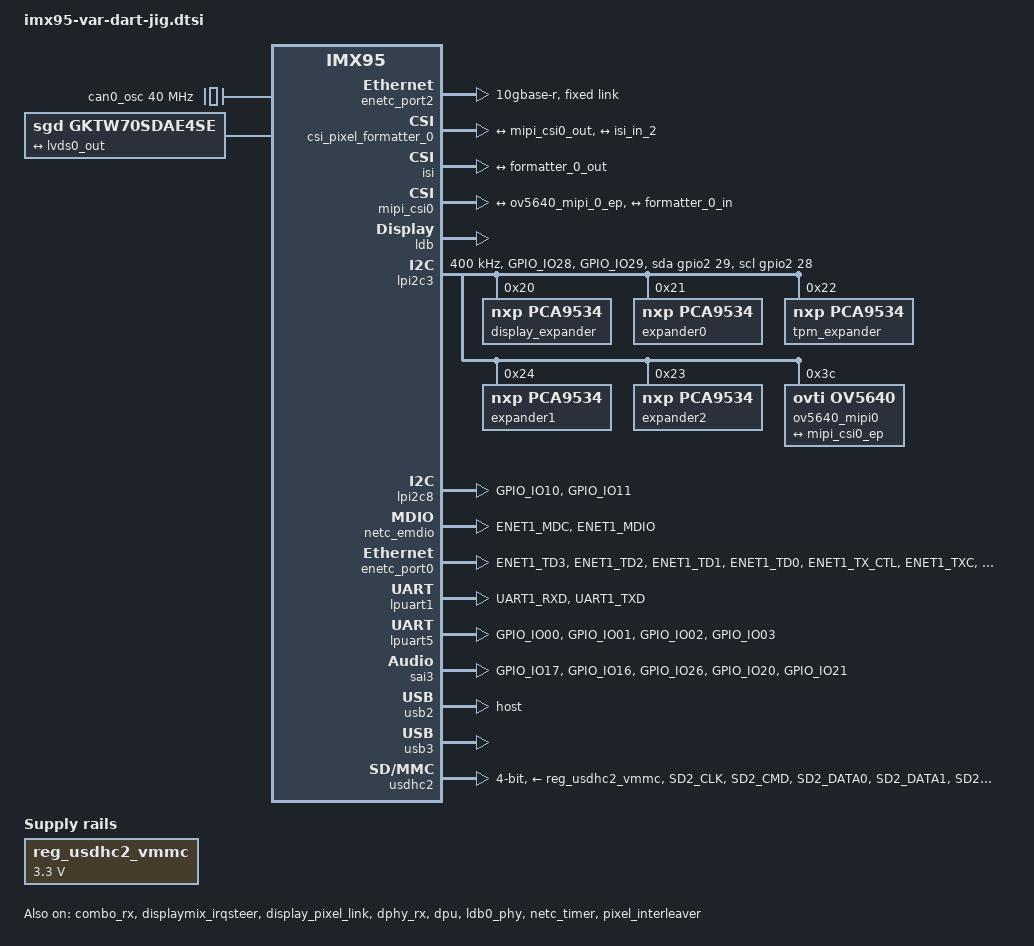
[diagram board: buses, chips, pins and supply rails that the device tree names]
// SPDX-License-Identifier: (GPL-2.0+ OR MIT)
/*
 * Copyright 2023 NXP
 * Copyright 2024-2025 Variscite Ltd.
 */

#include <dt-bindings/clock/nxp,imx95-clock.h>

/ {
	aliases {
		mmc0 = &usdhc1;
		mmc1 = &usdhc2;
		serial0 = &lpuart1;
		ethernet0 = &enetc_port0;
		ethernet1 = &enetc_port1;
		ethernet2 = &enetc_port2;
	};

	can0_osc: can0_osc {
		compatible = "fixed-clock";
		#clock-cells = <0>;
		clock-frequency = <40000000>;
	};

	chosen {
		stdout-path = &lpuart1;
	};

	clk_ov5640_fixed: clock {
		#clock-cells = <0>;
		compatible = "fixed-clock";
		clock-frequency = <24000000>;
	};

	panel {
		compatible = "sgd,gktw70sdae4se", "panel-lvds";
		width-mm = <153>;
		height-mm = <87>;
		label = "gktw70sdae4se";
		data-mapping = "jeida-24";
		status = "okay";

		panel-timing {
			clock-frequency = <74250000>;
			hactive = <800>;
			vactive = <480>;
			hback-porch = <40>;
			hfront-porch = <40>;
			vback-porch = <29>;
			vfront-porch = <13>;
			hsync-len = <48>;
			vsync-len = <3>;
			hsync-active = <0>;
			vsync-active = <0>;
			de-active = <1>;
		};

		ports {
			#address-cells = <1>;
			#size-cells = <0>;

			port@0 {
				reg = <0>;
				panel_in: endpoint {
					remote-endpoint = <&lvds0_out>;
				};
			};
		};
	};

	reg_usdhc2_vmmc: regulator-usdhc2 {
		compatible = "regulator-fixed";
		// pinctrl-names = "default";
		// pinctrl-0 = <&pinctrl_reg_usdhc2_vmmc>;
		regulator-name = "VDD_SD2_3V3";
		regulator-min-microvolt = <3300000>;
		regulator-max-microvolt = <3300000>;
		off-on-delay-us = <12000>;
		enable-active-high;
	};

	/delete-node/ sound-wm8904;
	/delete-node/ usdhc3_pwrseq;
};

&enetc_port2 {
	phy-mode = "10gbase-r";
	status = "okay";

	fixed-link {
		speed = <10000>;
		full-duplex;
	};
};

&combo_rx {
	status = "okay";
};

&csi_pixel_formatter_0 {
	status = "okay";

	ports {
		#address-cells = <1>;
		#size-cells = <0>;

		port@0 {
			reg = <0>;

			formatter_0_in: endpoint {
				remote-endpoint = <&mipi_csi0_out>;
			};
		};

		port@1 {
			reg = <1>;

			formatter_0_out: endpoint {
				remote-endpoint = <&isi_in_2>;
			};
		};
	};
};

&displaymix_irqsteer {
	status = "okay";
};

&display_pixel_link {
	status = "okay";
};

&dphy_rx {
	status = "okay";
};

&dpu {
	status = "okay";
};

&gpio1 {
	status = "okay";
};

&ldb0_phy {
	status = "okay";
};

&isi {
	status = "okay";

	ports {
		#address-cells = <1>;
		#size-cells = <0>;

		port@2 {
			reg = <2>;

			isi_in_2: endpoint {
				remote-endpoint = <&formatter_0_out>;
			};
		};
	};
};

&mipi_csi0 {
	status = "okay";

	ports {
		#address-cells = <1>;
		#size-cells = <0>;

		port@0 {
			reg = <0>;
			mipi_csi0_ep: endpoint {
				remote-endpoint = <&ov5640_mipi_0_ep>;
				data-lanes = <1 2>;
				clock-lanes = <0>;
			};
		};

		port@1 {
			reg = <1>;
			mipi_csi0_out: endpoint {
				remote-endpoint = <&formatter_0_in>;
			};
		};
	};
};

&ldb {
	status = "okay";

	channel@0 {
		status = "okay";
		reg = <0>;

		port@1 {
			reg = <1>;
			lvds0_out: endpoint {
				remote-endpoint = <&panel_in>;
			};
		};
	};
};

&lpi2c3 {
	#address-cells = <1>;
	#size-cells = <0>;
	clock-frequency = <400000>;
	pinctrl-names = "default", "gpio", "sleep";
	pinctrl-0 = <&pinctrl_lpi2c3>;
	pinctrl-1 = <&pinctrl_lpi2c3>;
	// pinctrl-1 = <&pinctrl_lpi2c3_gpio>;
	// pinctrl-2 = <&pinctrl_lpi2c3_gpio>;
	scl-gpios = <&gpio2 28 GPIO_ACTIVE_HIGH>;
	sda-gpios = <&gpio2 29 GPIO_ACTIVE_HIGH>;
	status = "okay";

	display_expander: gpio@20 {
		compatible = "nxp,pca9534";
		reg = <0x20>;
		gpio-controller;
		#gpio-cells = <2>;
	};

	expander0: gpio@21 {
		compatible = "nxp,pca9534";
		reg = <0x21>;
		gpio-controller;
		#gpio-cells = <2>;
	};

	tpm_expander: gpio@22 {
		compatible = "nxp,pca9534";
		reg = <0x22>;
		gpio-controller;
		#gpio-cells = <2>;
		interrupt-controller;
		#interrupt-cells = <2>;
	};

	expander1: gpio@24 {
		compatible = "nxp,pca9534";
		reg = <0x24>;
		gpio-controller;
		#gpio-cells = <2>;
	};

	expander2: gpio@23 {
		compatible = "nxp,pca9534";
		reg = <0x23>;
		gpio-controller;
		#gpio-cells = <2>;

		usb-sel {
			gpio-hog;
			gpios = <0 GPIO_ACTIVE_HIGH>;  // P0 line
			output-high;
			line-name = "USB_SEL";
		};
	};

	ov5640_mipi0: ov5640_mipi0@3c {
		compatible = "ovti,ov5640";
		reg = <0x3c>;
		clocks = <&clk_ov5640_fixed>;
		clock-names = "xclk";
		assigned-clock-rates = <24000000>;
		status = "okay";

		port {
			ov5640_mipi_0_ep: endpoint {
				remote-endpoint = <&mipi_csi0_ep>;
				data-lanes = <1 2>;
				clock-lanes = <0>;
			};
		};
	};
};

&lpi2c4 {
	#address-cells = <1>;
	#size-cells = <0>;
	clock-frequency = <400000>;
	pinctrl-names = "default", "sleep";
	pinctrl-0 = <&pinctrl_lpi2c4>;
	pinctrl-1 = <&pinctrl_lpi2c4>;
	scl-gpios = <&gpio2 30 GPIO_ACTIVE_HIGH>;
	sda-gpios = <&gpio2 31 GPIO_ACTIVE_HIGH>;
	status = "disabled";
};

&lpi2c8 {
	pinctrl-names = "default";
	pinctrl-0 = <&pinctrl_lpi2c8_gpio>;
	status = "okay";

	/delete-property/ pinctrl-1;
	/delete-property/ pinctrl-2;
	/delete-property/ scl-gpios;
	/delete-property/ sda-gpios;
	/delete-node/ wm8904;
};

&netc_emdio {
	#address-cells = <1>;
	#size-cells = <0>;
	pinctrl-names = "default";
	pinctrl-0 = <&pinctrl_emdio>;
	status = "okay";
};

&enetc_port0 {
	pinctrl-names = "default";
	pinctrl-0 = <&pinctrl_enetc0>;
	status = "okay";
};

&netc_timer {
	status = "okay";
};

&lpuart1 {
	/* console */
	pinctrl-names = "default";
	pinctrl-0 = <&pinctrl_uart1>;
	status = "okay";
};

// The BT node has deletated in order to enable BT-UART test
&lpuart5 {
	pinctrl-names = "default";
	pinctrl-0 = <&pinctrl_uart5>;
	status = "okay";

	/delete-node/ bluetooth;
};

&pixel_interleaver {
	#address-cells = <1>;
	#size-cells = <0>;
	status = "okay";

	channel@0 {
		reg = <0>;
		status = "okay";
	};
};

&scmi_iomuxc {
	pinctrl-names = "default";
	pinctrl-0 = <&pinctrl_hog>;

	pinctrl_hog: hoggrp {
		fsl,pins = <
			// IMX95_PAD_GPIO_IO32__GPIO5_IO_BIT12		0x31e
			// IMX95_PAD_GPIO_IO25__GPIO2_IO_BIT25		0x31e

			IMX95_PAD_GPIO_IO04__GPIO2_IO_BIT4		0x31e
			IMX95_PAD_PDM_BIT_STREAM1__AONMIX_TOP_GPIO1_IO_BIT10	0x31e

			IMX95_PAD_I2C2_SDA__AONMIX_TOP_GPIO1_IO_BIT3	0x31e
			IMX95_PAD_SAI1_TXFS__AONMIX_TOP_GPIO1_IO_BIT11	0x31e

			IMX95_PAD_GPIO_IO22__GPIO2_IO_BIT22		0x31e
			IMX95_PAD_GPIO_IO05__GPIO2_IO_BIT5		0x31e
			IMX95_PAD_GPIO_IO23__GPIO2_IO_BIT23		0x31e

			IMX95_PAD_DAP_TMS_SWDIO__GPIO3_IO_BIT29		0x31e
			IMX95_PAD_DAP_TCLK_SWCLK__GPIO3_IO_BIT30	0x31e

			IMX95_PAD_XSPI1_DATA5__GPIO5_IO_BIT5	0x31e
			IMX95_PAD_XSPI1_DATA7__GPIO5_IO_BIT7	0x31e

			IMX95_PAD_GPIO_IO12__GPIO2_IO_BIT12		0x31e
			IMX95_PAD_GPIO_IO09__GPIO2_IO_BIT9		0x31e

			IMX95_PAD_XSPI1_DATA6__GPIO5_IO_BIT6	0x31e
			IMX95_PAD_ENET2_RXC__GPIO4_IO_BIT23	0x31e

			IMX95_PAD_XSPI1_DATA4__GPIO5_IO_BIT4	0x3fe
			IMX95_PAD_ENET2_RX_CTL__GPIO4_IO_BIT22	0x31e

			IMX95_PAD_GPIO_IO24__GPIO2_IO_BIT24		0x31e
			IMX95_PAD_PDM_BIT_STREAM0__AONMIX_TOP_GPIO1_IO_BIT9	0x31e

			IMX95_PAD_ENET2_TD1__GPIO4_IO_BIT18		0x31e
			IMX95_PAD_ENET2_TXC__GPIO4_IO_BIT21		0x31e

			IMX95_PAD_ENET2_MDIO__GPIO4_IO_BIT15		0x31e
			IMX95_PAD_ENET2_TD0__GPIO4_IO_BIT19		0x31e

			IMX95_PAD_ENET2_TD2__GPIO4_IO_BIT17		0x31e
			IMX95_PAD_ENET2_TX_CTL__GPIO4_IO_BIT20		0x31e

			IMX95_PAD_ENET2_MDC__GPIO4_IO_BIT14		0x31e
			IMX95_PAD_ENET2_RD0__GPIO4_IO_BIT24		0x31e

			IMX95_PAD_ENET2_RD1__GPIO4_IO_BIT25		0x31e
			IMX95_PAD_CCM_CLKO1__GPIO3_IO_BIT26		0x31e

			IMX95_PAD_ENET2_RD2__GPIO4_IO_BIT26		0x31e
			IMX95_PAD_ENET2_RD3__GPIO4_IO_BIT27		0x31e

			IMX95_PAD_XSPI1_DATA2__GPIO5_IO_BIT2		0x31e
			IMX95_PAD_XSPI1_SS1_B__GPIO5_IO_BIT11		0x31e

			IMX95_PAD_I2C2_SCL__AONMIX_TOP_GPIO1_IO_BIT2	0x31e
			IMX95_PAD_UART2_RXD__AONMIX_TOP_GPIO1_IO_BIT6	0x31e

			IMX95_PAD_DAP_TDI__GPIO3_IO_BIT28		0x31e
			IMX95_PAD_DAP_TDO_TRACESWO__GPIO3_IO_BIT31	0x31e

			IMX95_PAD_UART2_TXD__AONMIX_TOP_GPIO1_IO_BIT7	0x31e
			IMX95_PAD_GPIO_IO19__GPIO2_IO_BIT19		0x31e
			IMX95_PAD_GPIO_IO33__GPIO5_IO_BIT13		0x31e

			IMX95_PAD_WDOG_ANY__AONMIX_TOP_GPIO1_IO_BIT15	0x31e
			IMX95_PAD_PDM_CLK__AONMIX_TOP_GPIO1_IO_BIT8	0x31e

			IMX95_PAD_GPIO_IO15__GPIO2_IO_BIT15		0x31e
			IMX95_PAD_GPIO_IO14__GPIO2_IO_BIT14		0x31e

			IMX95_PAD_GPIO_IO10__GPIO2_IO_BIT10		0x31e
			IMX95_PAD_SAI1_TXD0__AONMIX_TOP_GPIO1_IO_BIT13	0x31e

			IMX95_PAD_SD2_CD_B__GPIO3_IO_BIT0		0x31e
			IMX95_PAD_SD2_RESET_B__GPIO3_IO_BIT7		0x31e

			IMX95_PAD_CCM_CLKO2__GPIO3_IO_BIT27		0x31e
			IMX95_PAD_ENET2_TD3__GPIO4_IO_BIT16		0x31e

			IMX95_PAD_GPIO_IO07__GPIO2_IO_BIT7		0x31e
		>;
	};

	pinctrl_usdhc3_sdex: usdhc3gpiogrp {
		fsl,pins = <
			IMX95_PAD_SD3_CLK__GPIO3_IO_BIT20		0x31e
			IMX95_PAD_SD3_CMD__GPIO3_IO_BIT21		0x31e
			IMX95_PAD_SD3_DATA0__GPIO3_IO_BIT22		0x415
			IMX95_PAD_SD3_DATA1__GPIO3_IO_BIT23		0x415
			IMX95_PAD_SD3_DATA2__GPIO3_IO_BIT24		0x40000b9e
			IMX95_PAD_SD3_DATA3__GPIO3_IO_BIT25		0x40000b9e
		>;
	};

	// To be overlayed by eth0 dtbo
	pinctrl_enetc0: enetc0grp {
		fsl,pins = <
			IMX95_PAD_ENET1_TD3__GPIO4_IO_BIT2		0x31e
			IMX95_PAD_ENET1_TD2__GPIO4_IO_BIT3		0x31e
			IMX95_PAD_ENET1_TD1__GPIO4_IO_BIT4		0x31e
			IMX95_PAD_ENET1_TD0__GPIO4_IO_BIT5		0x31e
			IMX95_PAD_ENET1_TX_CTL__GPIO4_IO_BIT6		0x31e
			IMX95_PAD_ENET1_TXC__GPIO4_IO_BIT7		0x31e
			IMX95_PAD_ENET1_RX_CTL__GPIO4_IO_BIT8		0x31e
			IMX95_PAD_ENET1_RXC__GPIO4_IO_BIT9		0x31e
			IMX95_PAD_ENET1_RD0__GPIO4_IO_BIT10		0x31e
			IMX95_PAD_ENET1_RD1__GPIO4_IO_BIT11		0x31e
			IMX95_PAD_ENET1_RD2__GPIO4_IO_BIT12		0x31e
			IMX95_PAD_ENET1_RD3__GPIO4_IO_BIT13		0x31e
		>;
	};

	// To be overlayed by eth0 dtbo
	pinctrl_emdio: emdiogrp{
		fsl,pins = <
			IMX95_PAD_ENET1_MDC__GPIO4_IO_BIT0		0x31e
			IMX95_PAD_ENET1_MDIO__GPIO4_IO_BIT1		0x31e
		>;
	};

	pinctrl_sai3_gpio: sai3gpiogrp {
		fsl,pins = <
			IMX95_PAD_GPIO_IO17__GPIO2_IO_BIT17		0x31e
			IMX95_PAD_GPIO_IO16__GPIO2_IO_BIT16		0x31e
			IMX95_PAD_GPIO_IO26__GPIO2_IO_BIT26		0x31e
			IMX95_PAD_GPIO_IO20__GPIO2_IO_BIT20		0x31e
			IMX95_PAD_GPIO_IO21__GPIO2_IO_BIT21		0x31e
		>;
	};

	pinctrl_lpi2c3: lpi2c3grp {
		fsl,pins = <
			IMX95_PAD_GPIO_IO28__LPI2C3_SDA			0x40000b9e
			IMX95_PAD_GPIO_IO29__LPI2C3_SCL			0x40000b9e
		>;
	};

/*
	pinctrl_lpi2c3_gpio: lpi2c3grp-gpio {
		fsl,pins = <
			IMX95_PAD_GPIO_IO28__GPIO2_IO_BIT28		0x31e
			IMX95_PAD_GPIO_IO29__GPIO2_IO_BIT29		0x31e
		>;
	};
*/

	pinctrl_lpi2c4: lpi2c4grp {
		fsl,pins = <
			IMX95_PAD_GPIO_IO30__LPI2C4_SDA		0x40000b9e
			IMX95_PAD_GPIO_IO31__LPI2C4_SCL		0x40000b9e
		>;
	};

	pinctrl_rtc: rtcgrp {
		fsl,pins = <
			IMX95_PAD_GPIO_IO32__GPIO5_IO_BIT12			0x31e
		>;
	};

	pinctrl_uart1: uart1grp {
		fsl,pins = <
			IMX95_PAD_UART1_RXD__AONMIX_TOP_LPUART1_RX	0x31e
			IMX95_PAD_UART1_TXD__AONMIX_TOP_LPUART1_TX	0x31e
		>;
	};

	pinctrl_usdhc2: usdhc2grp {
		fsl,pins = <
			IMX95_PAD_SD2_CLK__USDHC2_CLK			0x158e
			IMX95_PAD_SD2_CMD__USDHC2_CMD			0x138e
			IMX95_PAD_SD2_DATA0__USDHC2_DATA0		0x138e
			IMX95_PAD_SD2_DATA1__USDHC2_DATA1		0x138e
			IMX95_PAD_SD2_DATA2__USDHC2_DATA2		0x138e
			IMX95_PAD_SD2_DATA3__USDHC2_DATA3		0x138e
			IMX95_PAD_SD2_VSELECT__USDHC2_VSELECT		0x51e
		>;
	};

	pinctrl_usdhc2_100mhz: usdhc2-100mhzgrp {
		fsl,pins = <
			IMX95_PAD_SD2_CLK__USDHC2_CLK			0x158e
			IMX95_PAD_SD2_CMD__USDHC2_CMD			0x138e
			IMX95_PAD_SD2_DATA0__USDHC2_DATA0		0x138e
			IMX95_PAD_SD2_DATA1__USDHC2_DATA1		0x138e
			IMX95_PAD_SD2_DATA2__USDHC2_DATA2		0x138e
			IMX95_PAD_SD2_DATA3__USDHC2_DATA3		0x138e
			IMX95_PAD_SD2_VSELECT__USDHC2_VSELECT		0x51e
		>;
	};

	pinctrl_usdhc2_200mhz: usdhc2-200mhzgrp {
		fsl,pins = <
			IMX95_PAD_SD2_CLK__USDHC2_CLK			0x15fe
			IMX95_PAD_SD2_CMD__USDHC2_CMD			0x13fe
			IMX95_PAD_SD2_DATA0__USDHC2_DATA0		0x13fe
			IMX95_PAD_SD2_DATA1__USDHC2_DATA1		0x13fe
			IMX95_PAD_SD2_DATA2__USDHC2_DATA2		0x13fe
			IMX95_PAD_SD2_DATA3__USDHC2_DATA3		0x13fe
			IMX95_PAD_SD2_VSELECT__USDHC2_VSELECT		0x51e
		>;
	};

	// 0x1fe - *No pull up*!, Fast Slew Rate, Drive Strength Field - X6.
	pinctrl_uart5: uart5grp {
		fsl,pins = <
			IMX95_PAD_GPIO_IO00__LPUART5_TX					0x1fe
			IMX95_PAD_GPIO_IO01__LPUART5_RX					0x1fe
			IMX95_PAD_GPIO_IO02__LPUART5_CTS_B				0x1fe
			IMX95_PAD_GPIO_IO03__LPUART5_RTS_B				0x1fe
		>;
	};

	pinctrl_lpi2c8_gpio: lpi2c8grp-gpio {
		fsl,pins = <
			IMX95_PAD_GPIO_IO10__GPIO2_IO_BIT10				0x31e
			IMX95_PAD_GPIO_IO11__GPIO2_IO_BIT11				0x31e
		>;
	};
};

&sai3 {
	pinctrl-names = "default";
	pinctrl-0 = <&pinctrl_sai3_gpio>;
	status = "okay";
};

&usb2 {
	dr_mode = "host";
	hnp-disable;
	srp-disable;
	adp-disable;
	disable-over-current;
	status = "okay";
};

&usb3 {
	status = "okay";
};

&usdhc2 {
	pinctrl-names = "default","state_100mhz","state_200mhz","sleep";
	pinctrl-0 = <&pinctrl_usdhc2>;
	pinctrl-1 = <&pinctrl_usdhc2_100mhz>;
	pinctrl-2 = <&pinctrl_usdhc2_200mhz>;
	fsl,cd-gpio-wakeup-disable;
	broken-cd;
	vmmc-supply = <&reg_usdhc2_vmmc>;
	bus-width = <4>;
	status = "okay";
};

&usdhc3 {
	/delete-property/ mmc-pwrseq;
	status = "disabled";
};
